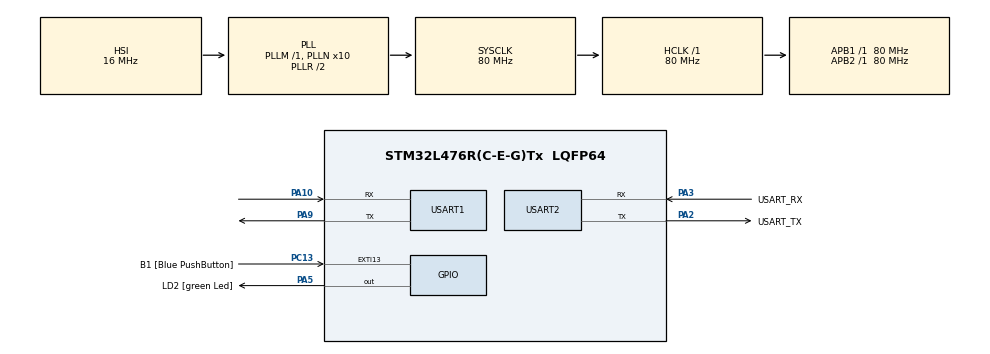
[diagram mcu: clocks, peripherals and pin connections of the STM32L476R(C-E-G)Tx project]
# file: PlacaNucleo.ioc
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Dma.Request0=USART1_RX
Dma.Request1=USART1_TX
Dma.Request2=USART2_RX
Dma.Request3=USART2_TX
Dma.USART1_RX.0.Direction=DMA_PERIPH_TO_MEMORY
Dma.USART1_RX.0.Instance=DMA1_Channel5
Dma.USART1_RX.0.MemDataAlignment=DMA_MDATAALIGN_BYTE
Dma.USART1_RX.0.MemInc=DMA_MINC_ENABLE
Dma.USART1_RX.0.Mode=DMA_NORMAL
Dma.USART1_RX.0.PeriphDataAlignment=DMA_PDATAALIGN_BYTE
Dma.USART1_RX.0.PeriphInc=DMA_PINC_DISABLE
Dma.USART1_RX.0.Priority=DMA_PRIORITY_LOW
Dma.USART1_TX.1.Direction=DMA_MEMORY_TO_PERIPH
Dma.USART1_TX.1.Instance=DMA1_Channel4
Dma.USART1_TX.1.MemDataAlignment=DMA_MDATAALIGN_BYTE
Dma.USART1_TX.1.MemInc=DMA_MINC_ENABLE
Dma.USART1_TX.1.Mode=DMA_NORMAL
Dma.USART1_TX.1.PeriphDataAlignment=DMA_PDATAALIGN_BYTE
Dma.USART1_TX.1.PeriphInc=DMA_PINC_DISABLE
Dma.USART1_TX.1.Priority=DMA_PRIORITY_LOW
Dma.USART2_RX.2.Direction=DMA_PERIPH_TO_MEMORY
Dma.USART2_RX.2.Instance=DMA1_Channel6
Dma.USART2_RX.2.MemDataAlignment=DMA_MDATAALIGN_BYTE
Dma.USART2_RX.2.MemInc=DMA_MINC_ENABLE
Dma.USART2_RX.2.Mode=DMA_NORMAL
Dma.USART2_RX.2.PeriphDataAlignment=DMA_PDATAALIGN_BYTE
Dma.USART2_RX.2.PeriphInc=DMA_PINC_DISABLE
Dma.USART2_RX.2.Priority=DMA_PRIORITY_LOW
Dma.USART2_TX.3.Direction=DMA_MEMORY_TO_PERIPH
Dma.USART2_TX.3.Instance=DMA1_Channel7
Dma.USART2_TX.3.MemDataAlignment=DMA_MDATAALIGN_BYTE
Dma.USART2_TX.3.MemInc=DMA_MINC_ENABLE
Dma.USART2_TX.3.Mode=DMA_NORMAL
Dma.USART2_TX.3.PeriphDataAlignment=DMA_PDATAALIGN_BYTE
Dma.USART2_TX.3.PeriphInc=DMA_PINC_DISABLE
Dma.USART2_TX.3.Priority=DMA_PRIORITY_LOW
Mcu.Family=STM32L4
Mcu.Name=STM32L476R(C-E-G)Tx
Mcu.Package=LQFP64
NVIC.DMA1_Channel4_IRQn=true\:0\:0\:false\:false\:true\:false\:true\:true
NVIC.DMA1_Channel5_IRQn=true\:0\:0\:false\:false\:true\:false\:true\:true
NVIC.DMA1_Channel6_IRQn=true\:0\:0\:false\:false\:true\:false\:true\:true
NVIC.DMA1_Channel7_IRQn=true\:0\:0\:false\:false\:true\:false\:true\:true
NVIC.EXTI15_10_IRQn=true\:0\:0\:false\:false\:true\:true\:true\:true
NVIC.PriorityGroup=NVIC_PRIORITYGROUP_4
NVIC.USART1_IRQn=true\:0\:0\:false\:false\:true\:true\:true\:true
NVIC.USART2_IRQn=true\:0\:0\:false\:false\:true\:false\:true\:true
PA10.Mode=Asynchronous
PA10.Signal=USART1_RX
PA13\ (JTMS-SWDIO).GPIO_Label=TMS
PA13\ (JTMS-SWDIO).Mode=Serial_Wire
PA13\ (JTMS-SWDIO).Signal=SYS_JTMS-SWDIO
PA14\ (JTCK-SWCLK).GPIO_Label=TCK
PA14\ (JTCK-SWCLK).Mode=Serial_Wire
PA14\ (JTCK-SWCLK).Signal=SYS_JTCK-SWCLK
PA2.GPIO_Label=USART_TX
PA2.GPIO_Mode=GPIO_MODE_AF_PP
PA2.GPIO_PuPd=GPIO_NOPULL
PA2.GPIO_Speed=GPIO_SPEED_FREQ_VERY_HIGH
PA2.Mode=Asynchronous
PA2.Signal=USART2_TX
PA3.GPIO_Label=USART_RX
PA3.GPIO_Mode=GPIO_MODE_AF_PP
PA3.GPIO_PuPd=GPIO_NOPULL
PA3.GPIO_Speed=GPIO_SPEED_FREQ_VERY_HIGH
PA3.Mode=Asynchronous
PA3.Signal=USART2_RX
PA5.GPIO_Label=LD2 [green Led]
PA5.GPIO_ModeDefaultOutputPP=GPIO_MODE_OUTPUT_PP
PA5.GPIO_PuPd=GPIO_NOPULL
PA5.GPIO_Speed=GPIO_SPEED_FREQ_LOW
PA5.Signal=GPIO_Output
PA9.Mode=Asynchronous
PA9.Signal=USART1_TX
PB3\ (JTDO-TRACESWO).GPIO_Label=SWO
PB3\ (JTDO-TRACESWO).Signal=SYS_JTDO-SWO
PC13.GPIO_Label=B1 [Blue PushButton]
PC13.GPIO_ModeDefaultEXTI=GPIO_MODE_IT_FALLING
PC13.GPIO_PuPd=GPIO_NOPULL
PC13.Signal=GPXTI13
PC14-OSC32_IN\ (PC14).Mode=LSE-External-Oscillator
PC14-OSC32_IN\ (PC14).Signal=RCC_OSC32_IN
PC15-OSC32_OUT\ (PC15).Mode=LSE-External-Oscillator
PC15-OSC32_OUT\ (PC15).Signal=RCC_OSC32_OUT
PH0-OSC_IN\ (PH0).Signal=RCC_OSC_IN
PH1-OSC_OUT\ (PH1).Signal=RCC_OSC_OUT
ProjectManager.HeapSize=0x200
ProjectManager.StackSize=0x400
ProjectManager.TargetToolchain=STM32CubeIDE
RCC.ADCFreq_Value=64000000
RCC.AHBFreq_Value=80000000
RCC.APB1Freq_Value=80000000
RCC.APB1TimFreq_Value=80000000
RCC.APB2Freq_Value=80000000
RCC.APB2TimFreq_Value=80000000
RCC.CortexFreq_Value=80000000
RCC.HCLKFreq_Value=80000000
RCC.HSE_VALUE=8000000
RCC.HSI_VALUE=16000000
RCC.MSI_VALUE=4000000
RCC.PLLN=10
RCC.PLLSourceVirtual=RCC_PLLSOURCE_HSI
RCC.PREFETCH_ENABLE=1
RCC.SYSCLKFreq_VALUE=80000000
RCC.SYSCLKSource=RCC_SYSCLKSOURCE_PLLCLK
RCC.USBFreq_Value=64000000
RCC.VCOOutputFreq_Value=160000000
USART1.VirtualMode-Asynchronous=VM_ASYNC
USART2.VirtualMode-Asynchronous=VM_ASYNC
board=NUCLEO-L476RG

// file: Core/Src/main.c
/* USER CODE BEGIN Header */
/**
  ******************************************************************************
  * @file           : main.c
  * @brief          : Main program body
  ******************************************************************************
  * @attention
  *
  * Copyright (c) 2026 STMicroelectronics.
  * All rights reserved.
  *
  * This software is licensed under terms that can be found in the LICENSE file
  * in the root directory of this software component.
  * If no LICENSE file comes with this software, it is provided AS-IS.
  *
  ******************************************************************************
  */
/* USER CODE END Header */
#include "main.h"
#include <string.h>
#include <stdio.h>

UART_HandleTypeDef huart1;
UART_HandleTypeDef huart2;
DMA_HandleTypeDef hdma_usart1_rx;
DMA_HandleTypeDef hdma_usart1_tx;
DMA_HandleTypeDef hdma_usart2_rx;
DMA_HandleTypeDef hdma_usart2_tx;

/* USER CODE BEGIN PV */
typedef enum {
    IDLE,
    WAITING_SERVER,
    BLINKING_LED,
  SENDING_PC,
  WAITING_PC_DMA
} State_t;

#define SERVER_TABLE_SIZE 120U
#define SERVER_TOTAL_RX   121U

uint8_t rx_buffer[SERVER_TOTAL_RX];
State_t currentState = IDLE;
uint8_t cmd_request = 0x5A;       // Comando para o servidor
uint8_t server_counter = 0;       // Valor X recebido do servidor
char team_table[SERVER_TABLE_SIZE + 1]; // Buffer para a tabela via DMA
char pc_msg[100];                 // Mensagem formatada para o PC
volatile uint8_t data_ready = 0;           // Flag de controle
uint8_t table_dma_done = 0;       // Flag para recepção completa da tabela
uint8_t pc_dma_busy = 0;          // Flag para transmissão da tabela ao PC
uint8_t pc_msg_it_busy = 0;       // Flag para transmissão da mensagem por IT

volatile uint8_t log_cmd_sent    = 0;  // Comando 0x5A enviado com sucesso
volatile uint8_t log_rx_done     = 0;  // Recepção do servidor concluída
volatile uint8_t log_went_idle   = 0;  // Sistema voltou ao IDLE

// Variáveis para substituir o Delay bloqueante
uint32_t tick_anterior = 0;
uint8_t piscadas_atuais = 0;      // Contador de piscadas executadas
/* USER CODE END PV */

void SystemClock_Config(void);
static void MX_GPIO_Init(void);
static void MX_DMA_Init(void);
static void MX_USART2_UART_Init(void);
static void MX_USART1_UART_Init(void);

/* USER CODE BEGIN 0 */
static void Log(const char* msg) {
    HAL_UART_Transmit(&huart2, (uint8_t*)msg, strlen(msg), HAL_MAX_DELAY);
}
/* USER CODE END 0 */

int main(void)
{

  /* MCU Configuration--------------------------------------------------------*/

  /* Reset of all peripherals, Initializes the Flash interface and the Systick. */
  HAL_Init();

  /* Configure the system clock */
  SystemClock_Config();

  /* Initialize all configured peripherals */
  MX_GPIO_Init();
  MX_DMA_Init();
  MX_USART2_UART_Init();
  MX_USART1_UART_Init();

  /* Infinite loop */
  while (1)
  {

    /* USER CODE BEGIN 3 */
	  if (log_cmd_sent) {
	            log_cmd_sent = 0;
	            Log("[UART1 TX] Comando 0x5A enviado ao servidor.\r\n");
	            Log("[STATE] -> WAITING_SERVER\r\n");
	        }

	        if (log_rx_done) {
	            log_rx_done = 0;
	            char buf[80];
	            snprintf(buf, sizeof(buf),
	                "[UART1 RX] Contador X = %d\r\n", server_counter);
	            Log(buf);
	            Log("[DMA] Inicio da tabela: ");
	            char preview[42] = {0};
	            strncpy(preview, team_table, 40);
	            Log(preview);
	            Log("\r\n");
	        }

	        if (log_went_idle) {
	            log_went_idle = 0;
	            Log("[STATE] -> IDLE\r\n");
	        }

	        switch (currentState) {
	            case WAITING_SERVER:
	            if (data_ready) {
	                    data_ready = 0;
	                    piscadas_atuais = 0;           // Zera as piscadas
	                    tick_anterior = HAL_GetTick(); // Pega o tempo atual
	                    currentState = BLINKING_LED;
	                }
	                break;

	            case BLINKING_LED:
	                // Se o contador for zero, nem entra na lógica de piscar e vai direto pro PC
	                if (server_counter == 0) {
	                    currentState = SENDING_PC;
	                    break;
	                }

	                // Pisca o LED em 1Hz (500ms ON / 500ms OFF) SEM usar HAL_Delay
	                if (HAL_GetTick() - tick_anterior >= 500) {
	                    tick_anterior = HAL_GetTick();
	                    HAL_GPIO_TogglePin(LD2_GPIO_Port, LD2_Pin); // Inverte o estado do LED

	                    // Se o LED apagou, significa que completou um ciclo inteiro (1 piscada)
	                    if (HAL_GPIO_ReadPin(LD2_GPIO_Port, LD2_Pin) == GPIO_PIN_RESET) {
	                        piscadas_atuais++;
	                    }

	                    // Se já piscou a quantidade necessária, desliga o LED por segurança e avança
	                    if (piscadas_atuais >= server_counter) {
	                        HAL_GPIO_WritePin(LD2_GPIO_Port, LD2_Pin, GPIO_PIN_RESET);
	                        currentState = SENDING_PC;
	                    }
	                }
	                break;

	            case SENDING_PC:

	                if (pc_msg_it_busy != 0U || pc_dma_busy != 0U) {
	                  break;
	                }

	                // 1. Formata a mensagem contendo o número de eventos
	                sprintf(pc_msg, "\r\nNúmero de eventos = %d\r\n", server_counter);

	                // 2. Envia a mensagem pro PC por interrupção (IT)
	                pc_msg_it_busy = 1;
	                HAL_UART_Transmit_IT(&huart2, (uint8_t*)pc_msg, strlen(pc_msg));

	                currentState = WAITING_PC_DMA;
	                break;

	              case WAITING_PC_DMA:
	                if (pc_msg_it_busy == 0U && pc_dma_busy == 0U) {
	                  currentState = IDLE;
	                }
	                break;

	            default:
	                break;
	        }
  }
  /* USER CODE END 3 */
}

void SystemClock_Config(void)
{
  RCC_OscInitTypeDef RCC_OscInitStruct = {0};
  RCC_ClkInitTypeDef RCC_ClkInitStruct = {0};

  /** Configure the main internal regulator output voltage
  */
  if (HAL_PWREx_ControlVoltageScaling(PWR_REGULATOR_VOLTAGE_SCALE1) != HAL_OK)
  {
    Error_Handler();
  }

  /** Initializes the RCC Oscillators according to the specified parameters
  * in the RCC_OscInitTypeDef structure.
  */
  RCC_OscInitStruct.OscillatorType = RCC_OSCILLATORTYPE_HSI;
  RCC_OscInitStruct.HSIState = RCC_HSI_ON;
  RCC_OscInitStruct.HSICalibrationValue = RCC_HSICALIBRATION_DEFAULT;
  RCC_OscInitStruct.PLL.PLLState = RCC_PLL_ON;
  RCC_OscInitStruct.PLL.PLLSource = RCC_PLLSOURCE_HSI;
  RCC_OscInitStruct.PLL.PLLM = 1;
  RCC_OscInitStruct.PLL.PLLN = 10;
  RCC_OscInitStruct.PLL.PLLP = RCC_PLLP_DIV7;
  RCC_OscInitStruct.PLL.PLLQ = RCC_PLLQ_DIV2;
  RCC_OscInitStruct.PLL.PLLR = RCC_PLLR_DIV2;
  if (HAL_RCC_OscConfig(&RCC_OscInitStruct) != HAL_OK)
  {
    Error_Handler();
  }

  /** Initializes the CPU, AHB and APB buses clocks
  */
  RCC_ClkInitStruct.ClockType = RCC_CLOCKTYPE_HCLK|RCC_CLOCKTYPE_SYSCLK
                              |RCC_CLOCKTYPE_PCLK1|RCC_CLOCKTYPE_PCLK2;
  RCC_ClkInitStruct.SYSCLKSource = RCC_SYSCLKSOURCE_PLLCLK;
  RCC_ClkInitStruct.AHBCLKDivider = RCC_SYSCLK_DIV1;
  RCC_ClkInitStruct.APB1CLKDivider = RCC_HCLK_DIV1;
  RCC_ClkInitStruct.APB2CLKDivider = RCC_HCLK_DIV1;

  if (HAL_RCC_ClockConfig(&RCC_ClkInitStruct, FLASH_LATENCY_4) != HAL_OK)
  {
    Error_Handler();
  }
}

static void MX_USART1_UART_Init(void)
{
  huart1.Instance = USART1;
  huart1.Init.BaudRate = 115200;
  huart1.Init.WordLength = UART_WORDLENGTH_8B;
  huart1.Init.StopBits = UART_STOPBITS_1;
  huart1.Init.Parity = UART_PARITY_NONE;
  huart1.Init.Mode = UART_MODE_TX_RX;
  huart1.Init.HwFlowCtl = UART_HWCONTROL_NONE;
  huart1.Init.OverSampling = UART_OVERSAMPLING_16;
  huart1.Init.OneBitSampling = UART_ONE_BIT_SAMPLE_DISABLE;
  huart1.AdvancedInit.AdvFeatureInit = UART_ADVFEATURE_NO_INIT;
  if (HAL_UART_Init(&huart1) != HAL_OK)
  {
    Error_Handler();
  }
}

static void MX_USART2_UART_Init(void)
{
  huart2.Instance = USART2;
  huart2.Init.BaudRate = 115200;
  huart2.Init.WordLength = UART_WORDLENGTH_8B;
  huart2.Init.StopBits = UART_STOPBITS_1;
  huart2.Init.Parity = UART_PARITY_NONE;
  huart2.Init.Mode = UART_MODE_TX_RX;
  huart2.Init.HwFlowCtl = UART_HWCONTROL_NONE;
  huart2.Init.OverSampling = UART_OVERSAMPLING_16;
  huart2.Init.OneBitSampling = UART_ONE_BIT_SAMPLE_DISABLE;
  huart2.AdvancedInit.AdvFeatureInit = UART_ADVFEATURE_NO_INIT;
  if (HAL_UART_Init(&huart2) != HAL_OK)
  {
    Error_Handler();
  }
}

static void MX_DMA_Init(void)
{
  /* DMA controller clock enable */
  __HAL_RCC_DMA1_CLK_ENABLE();

  /* DMA interrupt init */
  /* DMA1_Channel4_IRQn interrupt configuration */
  HAL_NVIC_SetPriority(DMA1_Channel4_IRQn, 0, 0);
  HAL_NVIC_EnableIRQ(DMA1_Channel4_IRQn);
  /* DMA1_Channel5_IRQn interrupt configuration */
  HAL_NVIC_SetPriority(DMA1_Channel5_IRQn, 0, 0);
  HAL_NVIC_EnableIRQ(DMA1_Channel5_IRQn);
  /* DMA1_Channel6_IRQn interrupt configuration */
  HAL_NVIC_SetPriority(DMA1_Channel6_IRQn, 0, 0);
  HAL_NVIC_EnableIRQ(DMA1_Channel6_IRQn);
  /* DMA1_Channel7_IRQn interrupt configuration */
  HAL_NVIC_SetPriority(DMA1_Channel7_IRQn, 0, 0);
  HAL_NVIC_EnableIRQ(DMA1_Channel7_IRQn);
}

static void MX_GPIO_Init(void)
{
  GPIO_InitTypeDef GPIO_InitStruct = {0};

  /* GPIO Ports Clock Enable */
  __HAL_RCC_GPIOC_CLK_ENABLE();
  __HAL_RCC_GPIOH_CLK_ENABLE();
  __HAL_RCC_GPIOA_CLK_ENABLE();
  __HAL_RCC_GPIOB_CLK_ENABLE();

  /*Configure GPIO pin Output Level */
  HAL_GPIO_WritePin(LD2_GPIO_Port, LD2_Pin, GPIO_PIN_RESET);

  /*Configure GPIO pin : B1_Pin */
  GPIO_InitStruct.Pin = B1_Pin;
  GPIO_InitStruct.Mode = GPIO_MODE_IT_FALLING;
  GPIO_InitStruct.Pull = GPIO_NOPULL;
  HAL_GPIO_Init(B1_GPIO_Port, &GPIO_InitStruct);

  /*Configure GPIO pin : LD2_Pin */
  GPIO_InitStruct.Pin = LD2_Pin;
  GPIO_InitStruct.Mode = GPIO_MODE_OUTPUT_PP;
  GPIO_InitStruct.Pull = GPIO_NOPULL;
  GPIO_InitStruct.Speed = GPIO_SPEED_FREQ_LOW;
  HAL_GPIO_Init(LD2_GPIO_Port, &GPIO_InitStruct);

  /* EXTI interrupt init*/
  HAL_NVIC_SetPriority(EXTI15_10_IRQn, 0, 0);
  HAL_NVIC_EnableIRQ(EXTI15_10_IRQn);
}

/* USER CODE BEGIN 4 */
void HAL_GPIO_EXTI_Callback(uint16_t GPIO_Pin) {
    if (GPIO_Pin == B1_Pin && currentState == IDLE) {

        // Limpa buffers de sessão anterior
        memset(rx_buffer,  0, sizeof(rx_buffer));
        memset(team_table, 0, sizeof(team_table));
        data_ready     = 0;
        pc_msg_it_busy = 0;
        pc_dma_busy    = 0;

        // 1. Arma DMA para receber tudo de uma vez (1 byte contador + 120 bytes tabela)
        HAL_UART_Receive_DMA(&huart1, rx_buffer, SERVER_TOTAL_RX);

        // 2. Envia comando bloqueante (1 byte ≈ 87 µs a 115200 bps — seguro em ISR)
        HAL_UART_Transmit(&huart1, &cmd_request, 1, 100);

        // Seta flag de log (Log() não pode ser chamada dentro de ISR)
        log_cmd_sent = 1;

        currentState = WAITING_SERVER;
    }
}

void HAL_UART_RxCpltCallback(UART_HandleTypeDef *huart) {
    if (huart->Instance == USART1) {
        // Separa o contador (byte 0) da tabela (bytes 1..120)
        server_counter = rx_buffer[0];
        memcpy(team_table, &rx_buffer[1], SERVER_TABLE_SIZE);
        team_table[SERVER_TABLE_SIZE] = '\0'; // Garante terminador

        data_ready   = 1;
        log_rx_done  = 1;
    }
}

void HAL_UART_TxCpltCallback(UART_HandleTypeDef *huart) {
    if (huart->Instance == USART2) {
        if (pc_msg_it_busy != 0U) {
            // Mensagem de eventos enviada — agora envia a tabela por DMA
            pc_msg_it_busy = 0;
            pc_dma_busy    = 1;
            HAL_UART_Transmit_DMA(&huart2,
                (uint8_t*)team_table, strlen(team_table));
        } else if (pc_dma_busy != 0U) {
            // Tabela enviada — transmissão concluída
            pc_dma_busy = 0;
        }
    }
}

/* USER CODE END 4 */

void Error_Handler(void)
{
  __disable_irq();
  while (1)
  {
  }
}
